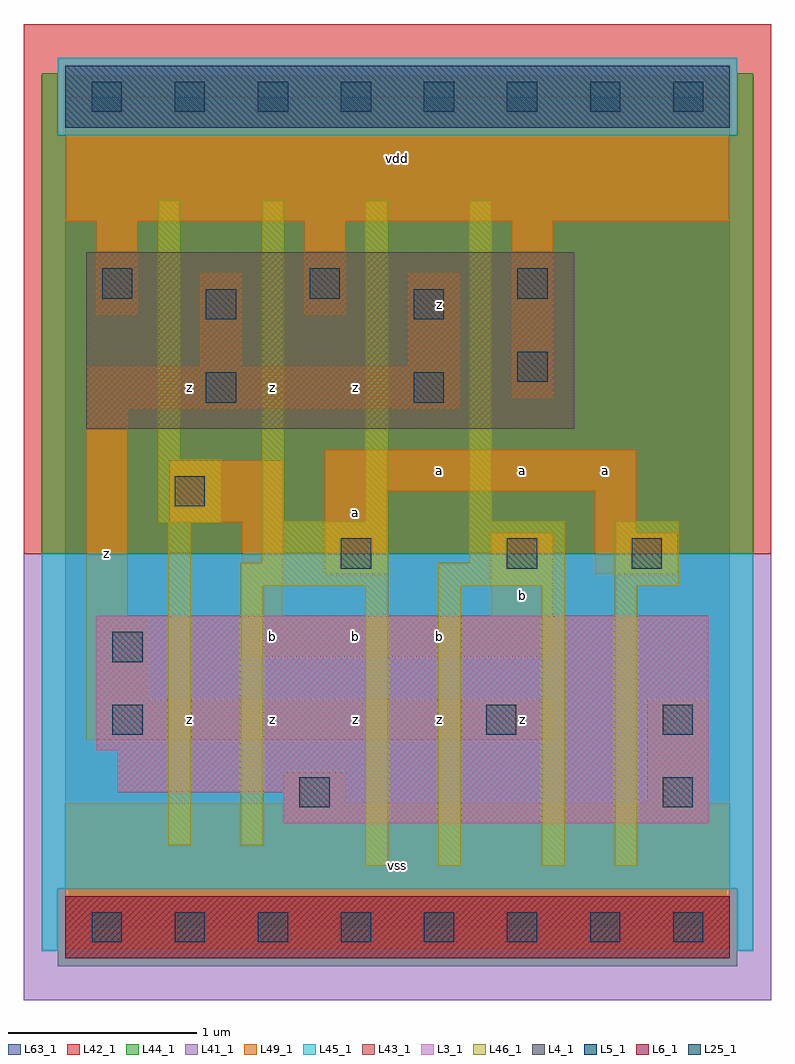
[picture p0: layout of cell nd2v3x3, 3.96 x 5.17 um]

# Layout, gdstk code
import gdstk
lib = gdstk.Library(unit=1e-6, precision=1e-09)
def R(c, l, rs):  # rectangles x0, y0, x1, y1
    for r in rs: c.add(gdstk.rectangle(r[:2], r[2:], *l))
def A(c, l, x, y, w, h, nx, ny, dx, dy):  # array of equal rectangles
    R(c, l, [(x+i*dx, y+j*dy, x+i*dx+w, y+j*dy+h) for i in range(nx) for j in range(ny)])
L3_1 = (3, 1)
L4_1 = (4, 1)
L5_1 = (5, 1)
L6_1 = (6, 1)
L25_1 = (25, 1)
L41_1 = (41, 1)
L42_1 = (42, 1)
L43_1 = (43, 1)
L44_1 = (44, 1)
L45_1 = (45, 1)
L46_1 = (46, 1)
L49_1 = (49, 1)
L63_1 = (63, 1)

nd2v3x3 = lib.new_cell('nd2v3x3')
R(nd2v3x3, L3_1, [(1.155,0.55,3.41,0.715), (0.275,0.715,3.41,0.935), (0.165,0.935,3.41,1.65)])
R(nd2v3x3, L4_1, [(0.11,2.64,2.695,3.575)])
R(nd2v3x3, L5_1, [(0,4.235,3.52,4.565)])
R(nd2v3x3, L6_1, [(0,-0.165,3.52,0.165)])
A(nd2v3x3, L25_1, 0.14, -0.08, 0.16, 0.16, 8, 2, 0.44, 4.4)
A(nd2v3x3, L25_1, 0.195, 3.33, 0.16, 0.16, 3, 1, 1.1, 0)
R(nd2v3x3, L25_1, [(1.24,0.635,1.4,0.795), (3.165,0.635,3.325,0.795), (0.25,1.02,0.41,1.18), (2.23,1.02,2.39,1.18), (3.165,1.02,3.325,1.18), (0.25,1.405,0.41,1.565), (1.46,1.9,1.62,2.06), (2.34,1.9,2.5,2.06), (3,1.9,3.16,2.06), (0.58,2.23,0.74,2.39), (0.745,2.78,0.905,2.94), (1.845,2.78,2.005,2.94), (2.395,2.89,2.555,3.05), (0.745,3.22,0.905,3.38), (1.845,3.22,2.005,3.38)])
R(nd2v3x3, L41_1, [(-0.22,-0.385,3.74,1.98)])
R(nd2v3x3, L42_1, [(-0.22,1.98,3.74,4.785)])
R(nd2v3x3, L43_1, [(0,-0.165,3.52,0.165), (1.155,0.55,3.41,0.715), (0.275,0.715,3.41,0.935), (0.165,0.935,3.41,1.65), (0.11,2.64,2.695,3.575), (0,4.235,3.52,4.565)])
R(nd2v3x3, L44_1, [(-0.04,-0.205,3.56,0.205), (-0.125,1.98,3.645,4.195), (-0.125,4.195,-0.04,4.525), (3.56,4.195,3.645,4.525)])
R(nd2v3x3, L45_1, [(-0.125,-0.125,-0.04,0.205), (3.56,-0.125,3.645,0.205), (-0.125,0.205,3.645,1.98), (-0.04,4.195,3.56,4.605)])
A(nd2v3x3, L46_1, 1.04, 2.15, 0.12, 1.705, 3, 1, 0.55, 0)
R(nd2v3x3, L46_1, [(1.59,0.325,1.71,1.81), (1.975,0.325,2.095,1.81), (2.525,0.325,2.645,1.81), (2.91,0.325,3.03,1.81), (0.545,0.435,0.665,2.14), (0.93,0.435,1.05,1.81), (0.93,1.81,1.71,1.93), (1.975,1.81,2.645,1.93), (2.91,1.81,3.25,2.15), (1.04,1.93,1.71,2.15), (2.14,1.93,2.645,2.15), (0.49,2.14,0.83,2.48), (0.49,2.48,0.61,3.855)])
R(nd2v3x3, L49_1, [(0,-0.11,3.52,0.66), (1.155,0.66,1.485,0.825), (3.08,0.66,3.41,1.21), (0.11,0.99,2.585,1.21), (0.11,1.21,0.44,1.65), (0.935,1.43,2.585,1.65), (0.11,1.65,0.33,2.75), (0.935,1.65,1.155,2.145), (2.255,1.65,2.585,2.09), (1.375,1.87,1.705,2.31), (2.805,1.87,3.245,2.09), (2.805,2.09,3.025,2.31), (0.55,2.145,1.155,2.475), (1.375,2.31,3.025,2.53), (0.11,2.75,2.09,2.97), (2.365,2.805,2.585,3.74), (0.715,2.97,0.935,3.465), (1.815,2.97,2.09,3.465), (0.165,3.245,0.385,3.74), (1.265,3.245,1.485,3.74), (0,3.74,3.52,4.51)])
R(nd2v3x3, L63_1, [(0,0,3.52,4.4)])
nd2v3x3.add(gdstk.Label('z', (0.22,1.98), layer=49, texttype=1))
nd2v3x3.add(gdstk.Label('z', (0.66,1.1), layer=49, texttype=1))
nd2v3x3.add(gdstk.Label('z', (1.1,1.1), layer=49, texttype=1))
nd2v3x3.add(gdstk.Label('b', (1.1,1.54), layer=49, texttype=1))
nd2v3x3.add(gdstk.Label('z', (1.1,2.86), layer=49, texttype=1))
nd2v3x3.add(gdstk.Label('z', (0.66,2.86), layer=49, texttype=1))
nd2v3x3.add(gdstk.Label('vss', (1.76,0.33), layer=49, texttype=1))
nd2v3x3.add(gdstk.Label('z', (1.54,1.1), layer=49, texttype=1))
nd2v3x3.add(gdstk.Label('b', (1.54,1.54), layer=49, texttype=1))
nd2v3x3.add(gdstk.Label('z', (1.98,1.1), layer=49, texttype=1))
nd2v3x3.add(gdstk.Label('b', (1.98,1.54), layer=49, texttype=1))
nd2v3x3.add(gdstk.Label('a', (1.54,2.2), layer=49, texttype=1))
nd2v3x3.add(gdstk.Label('a', (1.98,2.42), layer=49, texttype=1))
nd2v3x3.add(gdstk.Label('z', (1.54,2.86), layer=49, texttype=1))
nd2v3x3.add(gdstk.Label('z', (1.98,3.3), layer=49, texttype=1))
nd2v3x3.add(gdstk.Label('vdd', (1.76,4.07), layer=49, texttype=1))
nd2v3x3.add(gdstk.Label('z', (2.42,1.1), layer=49, texttype=1))
nd2v3x3.add(gdstk.Label('b', (2.42,1.76), layer=49, texttype=1))
nd2v3x3.add(gdstk.Label('a', (2.42,2.42), layer=49, texttype=1))
nd2v3x3.add(gdstk.Label('a', (2.86,2.42), layer=49, texttype=1))

lib.write_gds('nd2v3x3.gds')
